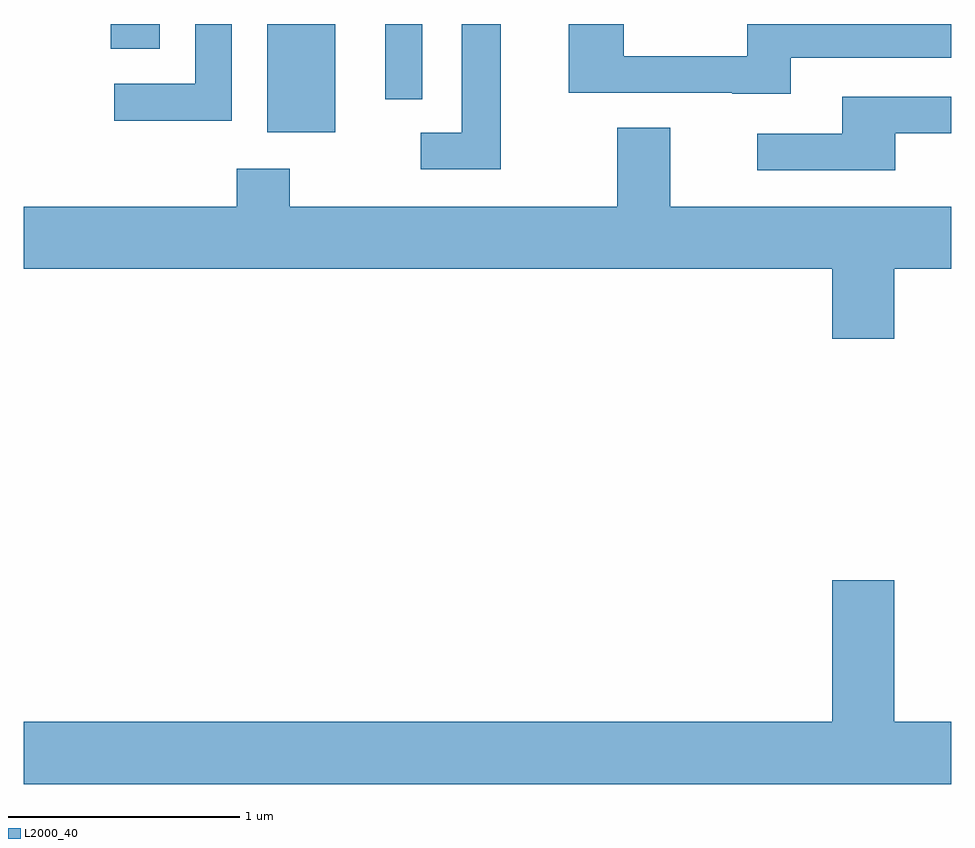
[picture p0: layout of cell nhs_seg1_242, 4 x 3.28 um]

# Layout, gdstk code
import gdstk
lib = gdstk.Library(unit=1e-6, precision=1e-09)
def R(c, l, rs):  # rectangles x0, y0, x1, y1
    for r in rs: c.add(gdstk.rectangle(r[:2], r[2:], *l))
def P(c, l, *ps):  # polygons
    for p in ps: c.add(gdstk.Polygon(p, *l))
L2000_40 = (2000, 40)

nhs_seg1_242 = lib.new_cell('nhs_seg1_242')
R(nhs_seg1_242, L2000_40, [(192.661,931.246,192.954,931.712), (193.171,931.388,193.329,931.712), (191.986,931.606,192.199,931.712)])
P(nhs_seg1_242, L2000_40, [(193.669,931.712),(193.501,931.712),(193.501,931.244),(193.323,931.244),(193.323,931.086),(193.669,931.086)],
  [(194.919,931.566),(195.611,931.566),(195.611,931.712),(194.731,931.712),(194.731,931.574),(194.199,931.574),(194.199,931.712),(193.961,931.712),(193.961,931.416),(194.665,931.416),(194.665,931.411),(194.919,931.411)],
  [(192.509,931.712),(192.351,931.712),(192.351,931.454),(192.003,931.454),(192.003,931.296),(192.509,931.296)],
  [(195.369,931.241),(195.611,931.241),(195.611,931.399),(195.141,931.399),(195.141,931.239),(194.773,931.239),(194.773,931.081),(195.369,931.081)],
  [(195.364,930.656),(195.611,930.656),(195.611,930.924),(194.399,930.924),(194.399,931.264),(194.171,931.264),(194.171,930.924),(192.759,930.924),(192.759,931.089),(192.531,931.089),(192.531,930.924),(191.611,930.924),(191.611,930.656),(195.096,930.656),(195.096,930.356),(195.364,930.356)],
  [(195.611,928.704),(195.364,928.704),(195.364,929.314),(195.096,929.314),(195.096,928.704),(191.611,928.704),(191.611,928.436),(195.611,928.436)])

lib.write_gds('nhs_seg1_242.gds')
